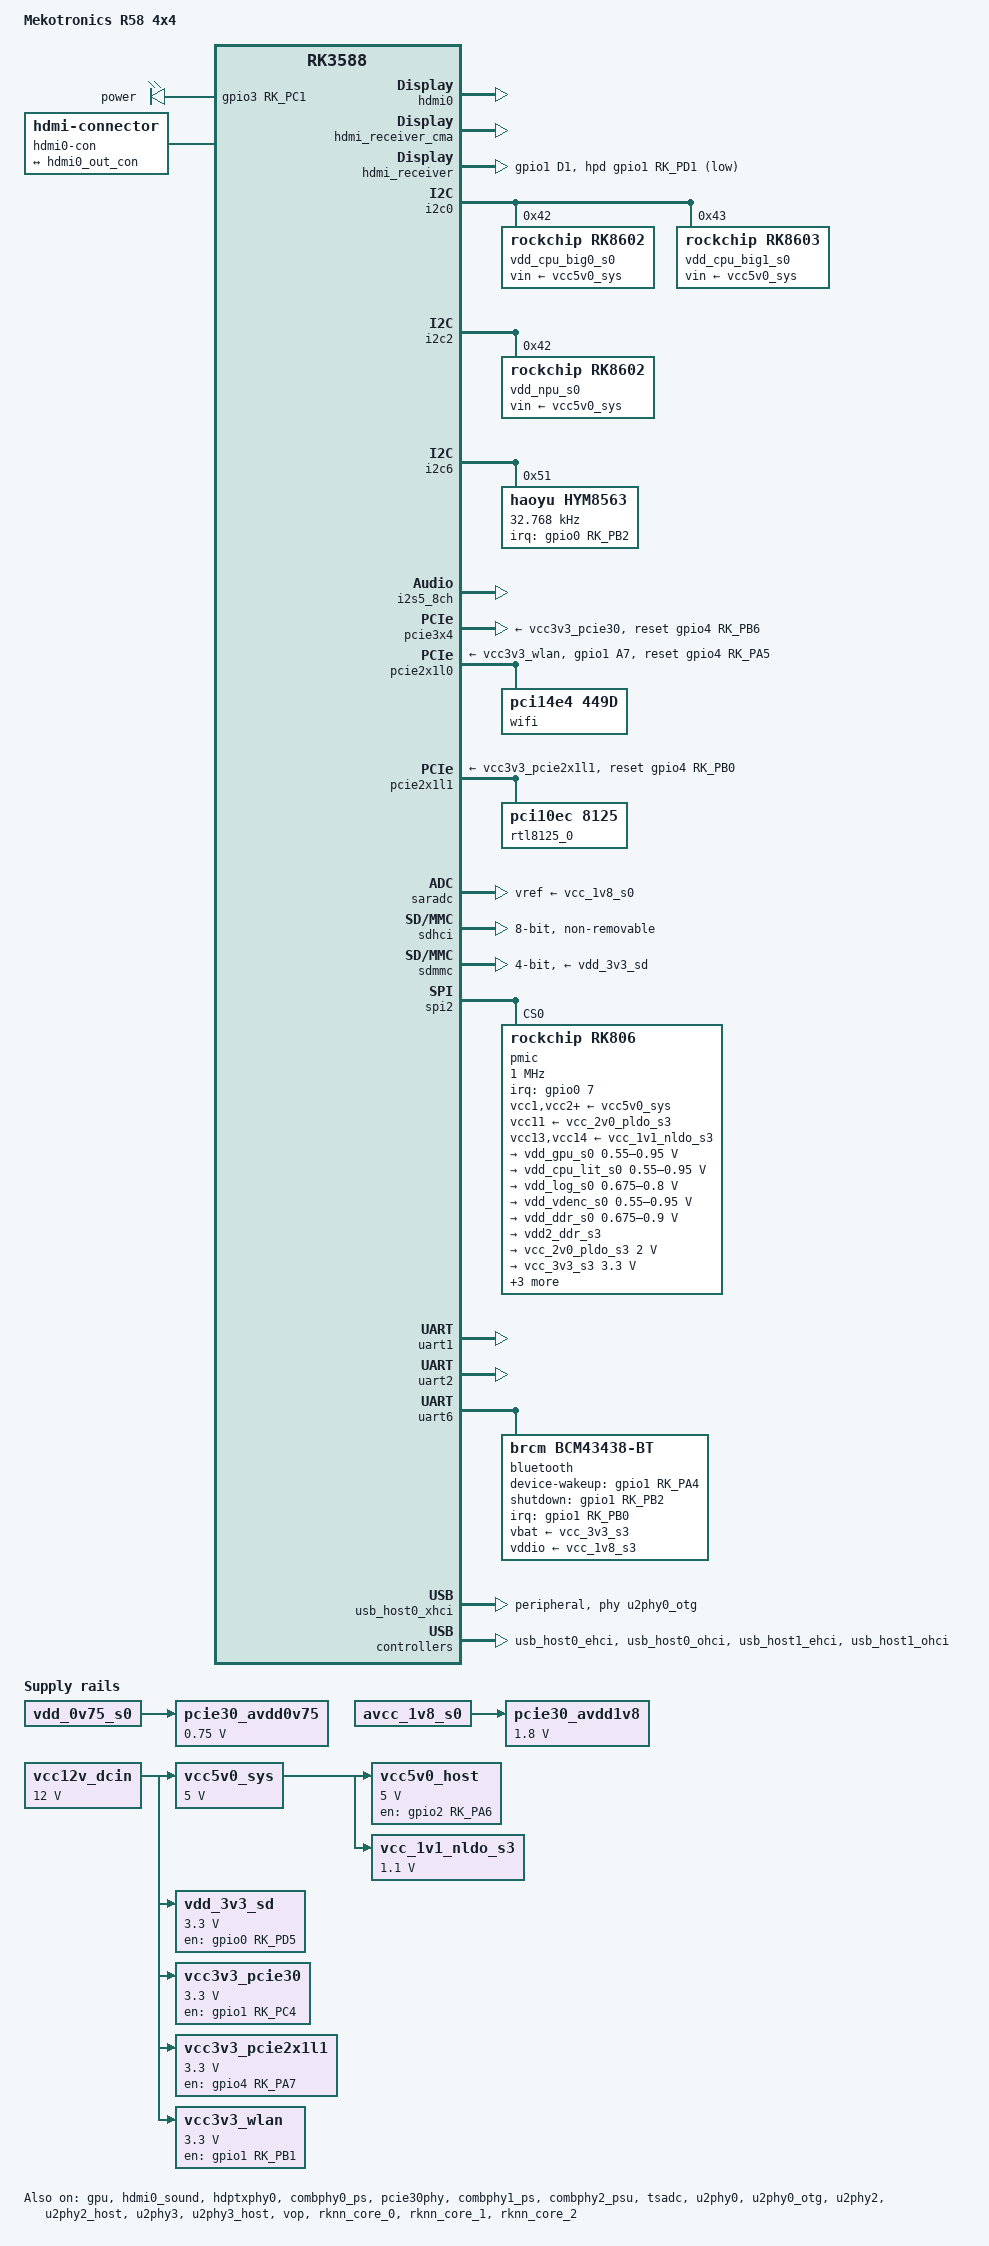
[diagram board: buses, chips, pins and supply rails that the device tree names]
// SPDX-License-Identifier: (GPL-2.0+ OR MIT)

/dts-v1/;

#include <dt-bindings/gpio/gpio.h>
#include <dt-bindings/input/input.h>
#include <dt-bindings/pinctrl/rockchip.h>
#include <dt-bindings/leds/common.h>
#include <dt-bindings/soc/rockchip,vop2.h>
#include <dt-bindings/usb/pd.h>
#include "rk3588.dtsi"

/ {
	model = "Mekotronics R58 4x4";
	compatible = "mekotronics,r58-4x4", "rockchip,rk3588";

	aliases {
		mmc0 = &sdmmc; // SD card
		mmc1 = &sdhci; // eMMC
	};

	chosen {
		stdout-path = "serial2:1500000n8";
	};

	leds {
		compatible = "gpio-leds";

		power_led: power-led {
			label = "power";
			gpios = <&gpio3 RK_PC1 GPIO_ACTIVE_HIGH>;
			linux,default-trigger = "heartbeat";
			pinctrl-names = "default";
			pinctrl-0 = <&power_led_pin>;
		};
	};

	vcc12v_dcin: vcc12v-dcin {
		compatible = "regulator-fixed";
		regulator-name = "vcc12v_dcin";
		regulator-always-on;
		regulator-boot-on;
		regulator-min-microvolt = <12000000>;
		regulator-max-microvolt = <12000000>;
	};

	vcc5v0_sys: vcc5v0-sys {
		compatible = "regulator-fixed";
		regulator-name = "vcc5v0_sys";
		regulator-always-on;
		regulator-boot-on;
		regulator-min-microvolt = <5000000>;
		regulator-max-microvolt = <5000000>;
		vin-supply = <&vcc12v_dcin>;
	};

	vcc5v0_host: vcc5v0-host-regulator {
		compatible = "regulator-fixed";
		regulator-name = "vcc5v0_host";
		regulator-boot-on;
		regulator-always-on;
		regulator-min-microvolt = <5000000>;
		regulator-max-microvolt = <5000000>;
		enable-active-high;
		gpio = <&gpio2 RK_PA6 GPIO_ACTIVE_HIGH>;  //USB_HOST_PWREN_H_GPIO2_A6
		vin-supply = <&vcc5v0_sys>;
		pinctrl-names = "default";
		pinctrl-0 = <&vcc5v0_host_en>;
	};

	vcc_1v1_nldo_s3: vcc-1v1-nldo-s3 {
		compatible = "regulator-fixed";
		regulator-name = "vcc_1v1_nldo_s3";
		regulator-always-on;
		regulator-boot-on;
		regulator-min-microvolt = <1100000>;
		regulator-max-microvolt = <1100000>;
		vin-supply = <&vcc5v0_sys>;
	};

	vdd_3v3_sd: regulator-vdd-3v3-sd {
		compatible = "regulator-fixed";
		regulator-name = "vdd_3v3_sd";
		gpios = <&gpio0 RK_PD5 GPIO_ACTIVE_HIGH>;
		regulator-boot-on;
		enable-active-high;
		regulator-min-microvolt = <3300000>;
		regulator-max-microvolt = <3300000>;
		vin-supply = <&vcc12v_dcin>;
		pinctrl-names = "default";
		pinctrl-0 = <&vdd_sd_en>;
		// vendor: startup-delay-us = <100000>;
	};

	pcie30_avdd0v75: pcie30-avdd0v75 {
		compatible = "regulator-fixed";
		regulator-name = "pcie30_avdd0v75";
		regulator-boot-on;
		regulator-always-on;
		regulator-min-microvolt = <750000>;
		regulator-max-microvolt = <750000>;
		vin-supply = <&vdd_0v75_s0>;
	};

	pcie30_avdd1v8: pcie30-avdd1v8 {
		compatible = "regulator-fixed";
		regulator-name = "pcie30_avdd1v8";
		regulator-boot-on;
		regulator-always-on;
		regulator-min-microvolt = <1800000>;
		regulator-max-microvolt = <1800000>;
		vin-supply = <&avcc_1v8_s0>;
	};

	vcc3v3_pcie30: vcc3v3-pcie30 {
		compatible = "regulator-fixed";
		regulator-name = "vcc3v3_pcie30";
		regulator-min-microvolt = <3300000>;
		regulator-max-microvolt = <3300000>;
		enable-active-high;
		pinctrl-names = "default";
		pinctrl-0 = <&vcc3v3_pcie30_en>;
		gpios = <&gpio1 RK_PC4 GPIO_ACTIVE_HIGH>; //PCIE30x4_PWREN_H
		startup-delay-us = <10000>;
		vin-supply = <&vcc12v_dcin>;
	};

	vcc3v3_pcie2x1l1: vcc3v3-pcie2x1l1{
		compatible = "regulator-fixed";
		regulator-name = "vcc3v3_pcie2x1l1";
		regulator-min-microvolt = <3300000>;
		regulator-max-microvolt = <3300000>;
		enable-active-high;
		gpios = <&gpio4 RK_PA7 GPIO_ACTIVE_HIGH>;
		startup-delay-us = <10000>;
		vin-supply = <&vcc12v_dcin>;
	};

	vcc3v3_wlan: regulator-vcc3v3-wlan {
		compatible = "regulator-fixed";
		regulator-name = "wlan-en";
		regulator-min-microvolt = <3300000>;
		regulator-max-microvolt = <3300000>;
		enable-active-high;
		gpios = <&gpio1 RK_PB1 GPIO_ACTIVE_HIGH>;
		pinctrl-names = "default";
		pinctrl-0 = <&wifi_pwren>;
		vin-supply = <&vcc12v_dcin>;
	};

	hdmi0-con {
		compatible = "hdmi-connector";
		type = "a";

		port {
			hdmi0_con_in: endpoint {
				remote-endpoint = <&hdmi0_out_con>;
			};
		};
	};
};

&cpu_b0 {
	cpu-supply = <&vdd_cpu_big0_s0>;
	mem-supply = <&vdd_cpu_big0_s0>;
};

&cpu_b1 {
	cpu-supply = <&vdd_cpu_big0_s0>;
	mem-supply = <&vdd_cpu_big0_s0>;
};

&cpu_b2 {
	cpu-supply = <&vdd_cpu_big1_s0>;
	mem-supply = <&vdd_cpu_big1_s0>;
};

&cpu_b3 {
	cpu-supply = <&vdd_cpu_big1_s0>;
	mem-supply = <&vdd_cpu_big1_s0>;
};

&cpu_l0 {
	cpu-supply = <&vdd_cpu_lit_s0>;
	mem-supply = <&vdd_cpu_lit_mem_s0>;
};

&cpu_l1 {
	cpu-supply = <&vdd_cpu_lit_s0>;
	mem-supply = <&vdd_cpu_lit_mem_s0>;
};

&cpu_l2 {
	cpu-supply = <&vdd_cpu_lit_s0>;
	mem-supply = <&vdd_cpu_lit_mem_s0>;
};

&cpu_l3 {
	cpu-supply = <&vdd_cpu_lit_s0>;
	mem-supply = <&vdd_cpu_lit_mem_s0>;
};

&gpu {
	mali-supply = <&vdd_gpu_s0>;
	status = "okay";
};

&pd_gpu {
	domain-supply = <&vdd_gpu_s0>;
};

&hdmi0 {
	status = "okay";
};

&hdmi0_in {
	hdmi0_in_vp0: endpoint {
		remote-endpoint = <&vp0_out_hdmi0>;
	};
};

&hdmi0_out {
	hdmi0_out_con: endpoint {
		remote-endpoint = <&hdmi0_con_in>;
	};
};

&hdmi0_sound {
	status = "okay";
};

&hdptxphy0 {
	status = "okay";
};

&hdmi_receiver_cma {
	status = "okay";
};

// labeled as "HDMI IN60" - left side of board to the rear
&hdmi_receiver {
	hpd-gpios = <&gpio1 RK_PD1 GPIO_ACTIVE_LOW>;
	pinctrl-0 = <&hdmim2_rx_cec &hdmim2_rx_hpdin &hdmim2_rx_scl &hdmim2_rx_sda &hdmirx_hpd>;
	pinctrl-names = "default";
	status = "okay";
};

&i2c0 {
	pinctrl-names = "default";
	pinctrl-0 = <&i2c0m2_xfer>;
	status = "okay";

	vdd_cpu_big0_s0: regulator@42 {
		compatible = "rockchip,rk8602";
		reg = <0x42>;
		fcs,suspend-voltage-selector = <1>;
		regulator-name = "vdd_cpu_big0_s0";
		regulator-always-on;
		regulator-boot-on;
		regulator-min-microvolt = <550000>;
		regulator-max-microvolt = <1050000>;
		regulator-ramp-delay = <2300>;
		vin-supply = <&vcc5v0_sys>;

		regulator-state-mem {
			regulator-off-in-suspend;
		};
	};

	vdd_cpu_big1_s0: regulator@43 {
		compatible = "rockchip,rk8603", "rockchip,rk8602";
		reg = <0x43>;
		fcs,suspend-voltage-selector = <1>;
		regulator-name = "vdd_cpu_big1_s0";
		regulator-always-on;
		regulator-boot-on;
		regulator-min-microvolt = <550000>;
		regulator-max-microvolt = <1050000>;
		regulator-ramp-delay = <2300>;
		vin-supply = <&vcc5v0_sys>;

		regulator-state-mem {
			regulator-off-in-suspend;
		};
	};
};

&i2c2 {
	pinctrl-names = "default";
	pinctrl-0 = <&i2c2m0_xfer>;
	status = "okay";

	vdd_npu_s0: regulator@42 {
		compatible = "rockchip,rk8602";
		reg = <0x42>;
		fcs,suspend-voltage-selector = <1>;
		regulator-name = "vdd_npu_s0";
		regulator-always-on;
		regulator-boot-on;
		regulator-min-microvolt = <550000>;
		regulator-max-microvolt = <950000>;
		regulator-ramp-delay = <2300>;
		vin-supply = <&vcc5v0_sys>;

		regulator-state-mem {
			regulator-off-in-suspend;
		};
	};
};

&i2c6 {
	status = "okay";

	hym8563: rtc@51 {
		compatible = "haoyu,hym8563";
		reg = <0x51>;
		#clock-cells = <0>;
		clock-frequency = <32768>;
		clock-output-names = "hym8563";
		pinctrl-names = "default";
		pinctrl-0 = <&hym8563_int>;
		interrupt-parent = <&gpio0>;
		interrupts = <RK_PB2 IRQ_TYPE_LEVEL_LOW>; //RTCIC_INT_L_GPIO0_B2
		wakeup-source;
	};
};


//hdmi0 sound
&i2s5_8ch {
	status = "okay";
};

&combphy0_ps {
	status = "okay";
};

&pcie30phy {
	status = "okay";
};

//m.2
&pcie3x4 {
	reset-gpios = <&gpio4 RK_PB6 GPIO_ACTIVE_HIGH>;
	vpcie3v3-supply = <&vcc3v3_pcie30>;
	status = "okay";
};

// wifi BCM43752 [14e4:449d]
&pcie2x1l0 {
	pinctrl-names = "default";
	pinctrl-0 = <&wifi_host_wake_irq>;
	reset-gpios = <&gpio4 RK_PA5 GPIO_ACTIVE_HIGH>;
	vpcie3v3-supply = <&vcc3v3_wlan>;
	status = "okay";

	pcie@0,0 {
		reg = <0x200000 0 0 0 0>;
		#address-cells = <3>;
		#size-cells = <2>;
		ranges;
		device_type = "pci";
		bus-range = <0x20 0x2f>;

		wifi: wifi@0,0 {
			compatible = "pci14e4,449d";
			reg = <0x210000 0 0 0 0>;
			clocks = <&hym8563>;
			clock-names = "lpo";
		};
	};
};

&combphy1_ps { // for &pcie2x1l0 (wifi)
	status = "okay";
};

// RTL8125B(S)_BG(S)_BI [10ec:8125]
&pcie2x1l1 {
	reset-gpios = <&gpio4 RK_PB0 GPIO_ACTIVE_HIGH>;
	vpcie3v3-supply = <&vcc3v3_pcie2x1l1>;
	status = "okay";

	pcie@0,0 {
		reg = <0x00300000 0 0 0 0>;
		#address-cells = <3>;
		#size-cells = <2>;

		rtl8125_0: ethernet@31,0 {
			compatible = "pci10ec,8125";
			reg = <0x31000000 0 0 0 0>;

			mac-address = [ea 72 73 83 a4 f5];  // @TODO: to be patched by U-Boot
			local-mac-address = [ea 72 73 83 a4 f5];  // @TODO: to be patched by U-Boot
		};
	};
};

&combphy2_psu { // for &pcie2x1l1 (rtl8125b)
	status = "okay";
};


&pinctrl {
	gpio-leds {
		power_led_pin: power-led-pin {
			rockchip,pins = <3 RK_PC1 RK_FUNC_GPIO &pcfg_pull_none>;
		};
	};

	vdd_sd {
		vdd_sd_en: vdd-sd-en {
			rockchip,pins = <2 RK_PC6 RK_FUNC_GPIO &pcfg_pull_none>; // from vendor
		};
	};

	pcie {
		vcc3v3_pcie30_en: vcc3v3-pcie30-en {
			rockchip,pins = <1 RK_PC4 RK_FUNC_GPIO &pcfg_pull_up>;
		};
	};

	RTL8125B {
		RTL8125B_isolate: RTL8125B-isolate {
			rockchip,pins = <3 RK_PB7 RK_FUNC_GPIO &pcfg_pull_up>;
		};
	};

	hdmirx {
		hdmirx_hpd: hdmirx-5v-detection {
			rockchip,pins = <1 RK_PD1 RK_FUNC_GPIO &pcfg_pull_up>;
		};
	};

	hym8563 {
		hym8563_int: hym8563-int {
			rockchip,pins = <0 RK_PB2 RK_FUNC_GPIO &pcfg_pull_up>;
		};
	};

	wlan {
		wifi_host_wake_irq: wifi-host-wake-irq {
			rockchip,pins = <1 RK_PA7 RK_FUNC_GPIO &pcfg_pull_down>;
		};

		wifi_pwren: wifi-pwren {
			rockchip,pins = <1 RK_PB1 RK_FUNC_GPIO &pcfg_pull_up>;
		};
	};

	wireless-bluetooth {
		bt_reset_pin: bt-reset-pin {
			rockchip,pins = <1 RK_PB2 RK_FUNC_GPIO &pcfg_pull_none>;
		};

		bt_wake_pin: bt-wake-pin {
			rockchip,pins = <1 RK_PA4 RK_FUNC_GPIO &pcfg_pull_down>;
		};

		bt_wake_host_irq: bt-wake-host-irq {
			rockchip,pins = <1 RK_PB0 RK_FUNC_GPIO &pcfg_pull_up>;
		};
	};

	usb {
		vcc5v0_host_en: vcc5v0-host-en {
			rockchip,pins = <2 RK_PA6 RK_FUNC_GPIO &pcfg_pull_none>;
		};
	};

};

&saradc {
	status = "okay";
	vref-supply = <&vcc_1v8_s0>;
};

&sdhci {
	bus-width = <8>;
	no-sdio;
	no-sd;
	non-removable;
	max-frequency = <200000000>; // vendor
	// hs400 causes immediate trouble, hs200 works at around 150mb/s
	// mmc-hs400-1_8v;
	// mmc-hs400-enhanced-strobe;
	mmc-hs200-1_8v;
	status = "okay";
};

&sdmmc {
	bus-width = <4>;
	cap-sd-highspeed;
	disable-wp;
	no-mmc;
	no-sdio;
	max-frequency = <150000000>; // vendor
	sd-uhs-sdr104;
	vmmc-supply = <&vdd_3v3_sd>;
	vqmmc-supply = <&vccio_sd_s0>;
	status = "okay";
};

&spi2 {
	assigned-clocks = <&cru CLK_SPI2>;
	assigned-clock-rates = <200000000>;
	num-cs = <1>;
	pinctrl-names = "default";
	pinctrl-0 = <&spi2m2_cs0 &spi2m2_pins>;
	status = "okay";

	pmic@0 {
		compatible = "rockchip,rk806";
		reg = <0x0>;
		interrupt-parent = <&gpio0>;
		interrupts = <7 IRQ_TYPE_LEVEL_LOW>;
		pinctrl-names = "default", "pmic-power-off";
		pinctrl-0 = <&pmic_pins>, <&rk806_dvs1_null>,
			    <&rk806_dvs2_null>, <&rk806_dvs3_null>;
		pinctrl-1 = <&rk806_dvs1_slp>, <&rk806_dvs2_null>, <&rk806_dvs3_null>;

		spi-max-frequency = <1000000>;
		system-power-controller;

		vcc1-supply = <&vcc5v0_sys>;
		vcc2-supply = <&vcc5v0_sys>;
		vcc3-supply = <&vcc5v0_sys>;
		vcc4-supply = <&vcc5v0_sys>;
		vcc5-supply = <&vcc5v0_sys>;
		vcc6-supply = <&vcc5v0_sys>;
		vcc7-supply = <&vcc5v0_sys>;
		vcc8-supply = <&vcc5v0_sys>;
		vcc9-supply = <&vcc5v0_sys>;
		vcc10-supply = <&vcc5v0_sys>;
		vcc11-supply = <&vcc_2v0_pldo_s3>;
		vcc12-supply = <&vcc5v0_sys>;
		vcc13-supply = <&vcc_1v1_nldo_s3>;
		vcc14-supply = <&vcc_1v1_nldo_s3>;
		vcca-supply = <&vcc5v0_sys>;

		gpio-controller;
		#gpio-cells = <2>;

		rk806_dvs1_null: dvs1-null-pins {
			pins = "gpio_pwrctrl1";
			function = "pin_fun0";
		};

		rk806_dvs1_slp: dvs1-slp-pins {
			pins = "gpio_pwrctrl1";
			function = "pin_fun1";
		};

		rk806_dvs2_null: dvs2-null-pins {
			pins = "gpio_pwrctrl2";
			function = "pin_fun0";
		};

		rk806_dvs3_null: dvs3-null-pins {
			pins = "gpio_pwrctrl3";
			function = "pin_fun0";
		};

		regulators {
			vdd_gpu_s0: vdd_gpu_mem_s0: dcdc-reg1 {
				regulator-boot-on;
				regulator-enable-ramp-delay = <400>;
				regulator-min-microvolt = <550000>;
				regulator-max-microvolt = <950000>;
				regulator-name = "vdd_gpu_s0";
				regulator-ramp-delay = <12500>;

				regulator-state-mem {
					regulator-off-in-suspend;
				};
			};

			vdd_cpu_lit_s0: vdd_cpu_lit_mem_s0: dcdc-reg2 {
				regulator-always-on;
				regulator-boot-on;
				regulator-min-microvolt = <550000>;
				regulator-max-microvolt = <950000>;
				regulator-name = "vdd_cpu_lit_s0";
				regulator-ramp-delay = <12500>;

				regulator-state-mem {
					regulator-off-in-suspend;
				};
			};

			vdd_log_s0: dcdc-reg3 {
				regulator-always-on;
				regulator-boot-on;
				regulator-min-microvolt = <675000>;
				regulator-max-microvolt = <800000>;
				regulator-name = "vdd_log_s0";
				regulator-ramp-delay = <12500>;

				regulator-state-mem {
					regulator-off-in-suspend;
					regulator-suspend-microvolt = <750000>;
				};
			};

			vdd_vdenc_s0: vdd_vdenc_mem_s0: dcdc-reg4 {
				regulator-always-on;
				regulator-boot-on;
				regulator-min-microvolt = <550000>;
				regulator-max-microvolt = <950000>;
				regulator-name = "vdd_vdenc_s0";
				regulator-ramp-delay = <12500>;

				regulator-state-mem {
					regulator-off-in-suspend;
				};
			};

			vdd_ddr_s0: dcdc-reg5 {
				regulator-always-on;
				regulator-boot-on;
				regulator-min-microvolt = <675000>;
				regulator-max-microvolt = <900000>;
				regulator-name = "vdd_ddr_s0";
				regulator-ramp-delay = <12500>;

				regulator-state-mem {
					regulator-off-in-suspend;
					regulator-suspend-microvolt = <850000>;
				};
			};

			vdd2_ddr_s3: dcdc-reg6 {
				regulator-always-on;
				regulator-boot-on;
				regulator-name = "vdd2_ddr_s3";

				regulator-state-mem {
					regulator-on-in-suspend;
				};
			};

			vcc_2v0_pldo_s3: dcdc-reg7 {
				regulator-always-on;
				regulator-boot-on;
				regulator-min-microvolt = <2000000>;
				regulator-max-microvolt = <2000000>;
				regulator-name = "vdd_2v0_pldo_s3";
				regulator-ramp-delay = <12500>;

				regulator-state-mem {
					regulator-on-in-suspend;
					regulator-suspend-microvolt = <2000000>;
				};
			};

			vcc_3v3_s3: dcdc-reg8 {
				regulator-always-on;
				regulator-boot-on;
				regulator-min-microvolt = <3300000>;
				regulator-max-microvolt = <3300000>;
				regulator-name = "vcc_3v3_s3";

				regulator-state-mem {
					regulator-on-in-suspend;
					regulator-suspend-microvolt = <3300000>;
				};
			};

			vddq_ddr_s0: dcdc-reg9 {
				regulator-always-on;
				regulator-boot-on;
				regulator-name = "vddq_ddr_s0";

				regulator-state-mem {
					regulator-off-in-suspend;
				};
			};

			vcc_1v8_s3: dcdc-reg10 {
				regulator-always-on;
				regulator-boot-on;
				regulator-min-microvolt = <1800000>;
				regulator-max-microvolt = <1800000>;
				regulator-name = "vcc_1v8_s3";

				regulator-state-mem {
					regulator-on-in-suspend;
					regulator-suspend-microvolt = <1800000>;
				};
			};

			avcc_1v8_s0: pldo-reg1 {
				regulator-always-on;
				regulator-boot-on;
				regulator-min-microvolt = <1800000>;
				regulator-max-microvolt = <1800000>;
				regulator-name = "avcc_1v8_s0";

				regulator-state-mem {
					regulator-off-in-suspend;
					// @TODO: vendor: regulator-suspend-microvolt = <1800000>;
				};
			};

			vcc_1v8_s0: pldo-reg2 {
				regulator-always-on;
				regulator-boot-on;
				regulator-min-microvolt = <1800000>;
				regulator-max-microvolt = <1800000>;
				regulator-name = "vcc_1v8_s0";

				regulator-state-mem {
					regulator-off-in-suspend;
					regulator-suspend-microvolt = <1800000>;
				};
			};

			avdd_1v2_s0: pldo-reg3 {
				regulator-always-on;
				regulator-boot-on;
				regulator-min-microvolt = <1200000>;
				regulator-max-microvolt = <1200000>;
				regulator-name = "avdd_1v2_s0";

				regulator-state-mem {
					regulator-off-in-suspend;
				};
			};

			vcc_3v3_s0: pldo-reg4 {
				regulator-always-on;
				regulator-boot-on;
				regulator-min-microvolt = <3300000>;
				regulator-max-microvolt = <3300000>;
				regulator-ramp-delay = <12500>;
				regulator-name = "vcc_3v3_s0";

				regulator-state-mem {
					regulator-off-in-suspend;
				};
			};

			vccio_sd_s0: pldo-reg5 {
				regulator-always-on;
				regulator-boot-on;
				regulator-min-microvolt = <1800000>;
				regulator-max-microvolt = <3300000>;
				regulator-ramp-delay = <12500>;
				regulator-name = "vccio_sd_s0";

				regulator-state-mem {
					regulator-off-in-suspend;
				};
			};

			pldo6_s3: pldo-reg6 {
				regulator-always-on;
				regulator-boot-on;
				regulator-min-microvolt = <1800000>;
				regulator-max-microvolt = <1800000>;
				regulator-name = "pldo6_s3";

				regulator-state-mem {
					regulator-on-in-suspend;
					regulator-suspend-microvolt = <1800000>;
				};
			};

			vdd_0v75_s3: nldo-reg1 {
				regulator-always-on;
				regulator-boot-on;
				regulator-min-microvolt = <750000>;
				regulator-max-microvolt = <750000>;
				regulator-name = "vdd_0v75_s3";

				regulator-state-mem {
					regulator-on-in-suspend;
					regulator-suspend-microvolt = <750000>;
				};
			};

			vdd_ddr_pll_s0: nldo-reg2 {
				regulator-always-on;
				regulator-boot-on;
				regulator-min-microvolt = <850000>;
				regulator-max-microvolt = <850000>;
				regulator-name = "vdd_ddr_pll_s0";

				regulator-state-mem {
					regulator-off-in-suspend;
					regulator-suspend-microvolt = <850000>;
				};
			};

			avdd_0v75_s0: nldo-reg3 {
				regulator-always-on;
				regulator-boot-on;
				regulator-min-microvolt = <750000>;
				regulator-max-microvolt = <750000>;
				regulator-name = "avdd_0v75_s0";

				regulator-state-mem {
					regulator-off-in-suspend;
				};
			};

			vdd_0v85_s0: nldo-reg4 {
				regulator-always-on;
				regulator-boot-on;
				regulator-min-microvolt = <850000>;
				regulator-max-microvolt = <850000>;
				regulator-name = "vdd_0v85_s0";

				regulator-state-mem {
					regulator-off-in-suspend;
				};
			};

			vdd_0v75_s0: nldo-reg5 {
				regulator-always-on;
				regulator-boot-on;
				regulator-min-microvolt = <750000>;
				regulator-max-microvolt = <750000>;
				regulator-name = "vdd_0v75_s0";

				regulator-state-mem {
					regulator-off-in-suspend;
				};
			};
		};
	};
};

&tsadc {
	status = "okay";
};

// pins on the back of the board (green connector)
&uart1 {
	status = "okay";
	pinctrl-names = "default";
	pinctrl-0 = <&uart1m0_xfer>;
};

&uart2 {
	pinctrl-0 = <&uart2m0_xfer>;
	status = "okay";
};

// bluetooth via the BCM43752
&uart6 {
	status = "okay";
	pinctrl-names = "default";
	pinctrl-0 = <&uart6m1_xfer &uart6m1_ctsn &uart6m1_rtsn>;

	bluetooth {
		compatible = "brcm,bcm43438-bt";
		clocks = <&hym8563>;
		clock-names = "lpo";
		interrupt-parent = <&gpio1>; // bt_wake_host_irq
		interrupts = <RK_PB0 IRQ_TYPE_LEVEL_HIGH>; // bt_wake_host_irq
		interrupt-names = "host-wakeup";
		device-wakeup-gpios = <&gpio1 RK_PA4 GPIO_ACTIVE_HIGH>; // bt_wake_pin
		shutdown-gpios = <&gpio1 RK_PB2 GPIO_ACTIVE_HIGH>; // bt_reset_pin
		max-speed = <1500000>;
		pinctrl-names = "default";
		pinctrl-0 = <&bt_wake_host_irq &bt_wake_pin &bt_reset_pin>;
		vbat-supply = <&vcc_3v3_s3>;
		vddio-supply = <&vcc_1v8_s3>;
	};
};


&u2phy0 {
	status = "okay";
};

&u2phy0_otg { // for fc000000.usb UDC
	status = "okay";
};

&usb_host0_xhci { // usb@fc000000
	dr_mode = "peripheral";
	maximum-speed = "high-speed";
	phys = <&u2phy0_otg>;
	phy-names = "usb2-phy";
	status = "okay";
};

// XHCI (USB3) stuff is disabled, as it all depends on the fusb302 USB-C controller
// the blue ports on the front of the board, labelled "USB3", arent really USB3, but USB2.
&u2phy1 { // for usbdp_phy1 which is also usb_host1_xhci
	status = "disabled";
};

&u2phy1_otg { // for usb_host1_xhci
	phy-supply = <&vcc5v0_host>;
	status = "disabled";
};

// USB 2.0 stuff that somewhat works:
&u2phy2 { // for usb_host0_ohci and usb_host0_ehci
	status = "okay";
};

&u2phy2_host { // for usb_host0_ohci and usb_host0_ehci
	phy-supply = <&vcc5v0_host>;
	status = "okay";
};

&u2phy3 { // for usb_host1_ehci and usb_host1_ohci
	status = "okay";
};

&u2phy3_host { // for usb_host1_ehci and usb_host1_ohci
	phy-supply = <&vcc5v0_host>;
	status = "okay";
};

&usb_host0_ehci {
	status = "okay";
};

&usb_host0_ohci {
	status = "okay";
};

&usb_host1_ehci {
	status = "okay";
};

&usb_host1_ohci {
	status = "okay";
};

&vop {
	status = "okay";
};

&vop_mmu {
	status = "okay";
};

&vp0 {
	vp0_out_hdmi0: endpoint@ROCKCHIP_VOP2_EP_HDMI0 {
		reg = <ROCKCHIP_VOP2_EP_HDMI0>;
		remote-endpoint = <&hdmi0_in_vp0>;
	};
};


&pd_npu {
	domain-supply = <&vdd_npu_s0>;
};

&rknn_core_0 {
	npu-supply = <&vdd_npu_s0>;
	sram-supply = <&vdd_npu_s0>;
	status = "okay";
};

&rknn_core_1 {
	npu-supply = <&vdd_npu_s0>;
	sram-supply = <&vdd_npu_s0>;
	status = "okay";
};

&rknn_core_2 {
	npu-supply = <&vdd_npu_s0>;
	sram-supply = <&vdd_npu_s0>;
	status = "okay";
};

&rknn_mmu_0 {
	status = "okay";
};

&rknn_mmu_1 {
	status = "okay";
};

&rknn_mmu_2 {
	status = "okay";
};

